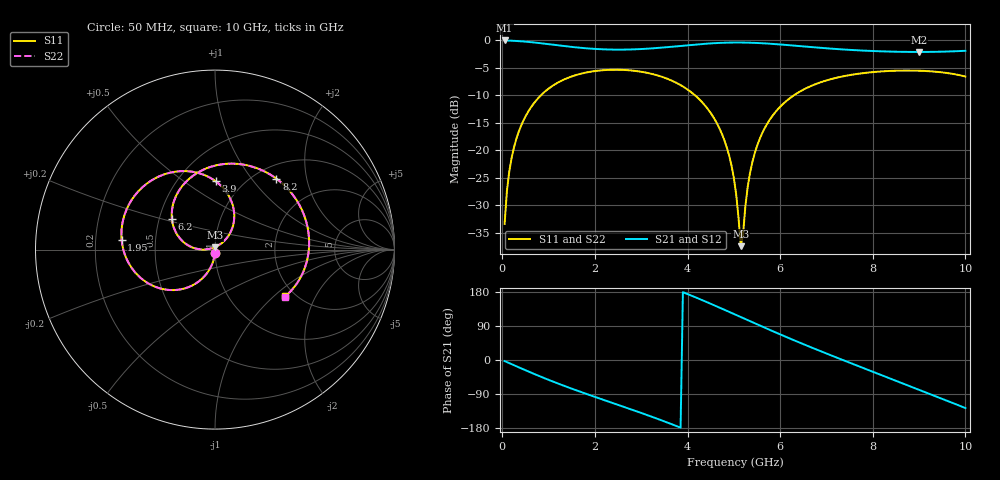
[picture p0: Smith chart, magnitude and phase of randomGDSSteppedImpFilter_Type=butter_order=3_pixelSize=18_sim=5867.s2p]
! freq	dB(S11)	phase(S11)	dB(S12)	phase(S12)
!  dB(S21)	phase(S21)	dB(S22)	phase(S22)
!S-par simulation data
#  GHz  S  DB  R 50
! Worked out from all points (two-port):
!   200 points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, 50 MHz to 10 GHz, reference 50 ohm
!   highest |S21| = -0.01 dB at 50 MHz (marker M1); lowest = -2.1 dB at 9 GHz (marker M2)
!   |S21| within 3 dB of the highest: start of sweep to end of sweep
!   lowest |S11| = -37.5 dB at 5.15 GHz (marker M3), VSWR 1.03, Z = 49.9 + j1.34 ohm
!   |S11| at or under -10 dB: start of sweep to 833.2 MHz; 4.162 GHz to 6.295 GHz (2.133 GHz wide, 40.8 % of centre)
!   |S22| runs from -36.8 to -5.3 dB; largest |S21 - S12| = 0
!   S11 on the Smith chart (normalised r, x): 50 MHz: 1.00, -0.04; 1.95 GHz: 0.31, +0.05; 3.9 GHz: 0.75, +0.67; 6.2 GHz: 0.58, +0.22; 8.2 GHz: 1.23, +1.34; 10 GHz: 1.77, -1.19
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0.05  -33.39 -92.8  -0.01 -2.8  -0.01 -2.8  -33.39 -92.8
0.1  -27.39 -95.7  -0.02 -5.5  -0.02 -5.5  -27.39 -95.7
0.2  -21.44 -101.4  -0.05 -11.0  -0.05 -11.0  -21.44 -101.4
0.5  -13.85 -117.6  -0.22 -27.0  -0.22 -27.0  -13.85 -117.6
1.1  -8.18 -147.7  -0.79 -57.2  -0.79 -57.2  -8.18 -147.7
1.75  -5.95 -177.2  -1.39 -86.7  -1.39 -86.7  -5.95 -177.2
1.95  -5.63 174.2  -1.52 -95.2  -1.52 -95.2  -5.63 174.2
3.4  -6.49 112.5  -1.34 -157.4  -1.34 -157.4  -6.49 112.6
3.9  -8.38 89.5  -0.96 179.0  -0.96 179.0  -8.38 89.6
4.65  -15.33 53.5  -0.47 140.4  -0.47 140.4  -15.33 53.8
4.9  -21.01 44.0  -0.39 126.9  -0.39 126.9  -20.99 44.6
5.05  -27.98 46.1  -0.38 118.7  -0.38 118.7  -27.91 47.4
5.15  -37.45 93.2  -0.38 113.3  -0.38 113.3  -36.84 94.3
5.3  -26.63 178.8  -0.40 105.1  -0.40 105.1  -26.58 177.5
5.5  -19.24 177.0  -0.46 94.2  -0.46 94.2  -19.23 176.4
6.2  -10.58 144.4  -0.87 57.2  -0.87 57.2  -10.58 144.1
6.7  -8.17 119.9  -1.23 31.9  -1.23 31.9  -8.17 119.7
7.4  -6.47 86.5  -1.67 -2.3  -1.67 -2.3  -6.47 86.2
8.2  -5.63 49.1  -1.99 -40.4  -1.99 -40.4  -5.63 48.9
8.35  -5.56 42.2  -2.03 -47.5  -2.03 -47.5  -5.56 42.0
9  -5.51 12.4  -2.10 -78.3  -2.10 -78.3  -5.52 12.1
10  -6.57 -33.7  -1.89 -126.8  -1.89 -126.8  -6.57 -34.1
